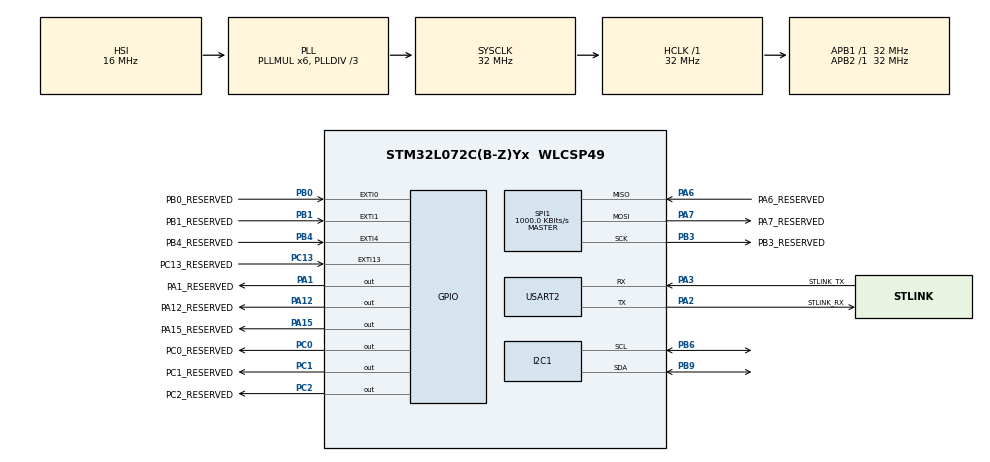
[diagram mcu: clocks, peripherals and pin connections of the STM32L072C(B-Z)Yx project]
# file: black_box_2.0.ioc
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Dma.I2C1_RX.0.Direction=DMA_PERIPH_TO_MEMORY
Dma.I2C1_RX.0.Instance=DMA1_Channel3
Dma.I2C1_RX.0.MemDataAlignment=DMA_MDATAALIGN_BYTE
Dma.I2C1_RX.0.MemInc=DMA_MINC_ENABLE
Dma.I2C1_RX.0.Mode=DMA_NORMAL
Dma.I2C1_RX.0.PeriphDataAlignment=DMA_PDATAALIGN_BYTE
Dma.I2C1_RX.0.PeriphInc=DMA_PINC_DISABLE
Dma.I2C1_RX.0.Priority=DMA_PRIORITY_LOW
Dma.Request0=I2C1_RX
FREERTOS.BinarySemaphores01=sem1,Dynamic,NULL,Depleted
FREERTOS.Tasks01=calculateTask,24,512,Calculate,Default,NULL,Dynamic,NULL,NULL
I2C1.Timing=0x00B07CB4
Mcu.Family=STM32L0
Mcu.Name=STM32L072C(B-Z)Yx
Mcu.Package=WLCSP49
NVIC.DMA1_Channel2_3_IRQn=true\:3\:0\:false\:false\:true\:true\:false\:true\:true
NVIC.EXTI0_1_IRQn=true\:3\:0\:false\:false\:true\:true\:true\:true\:true
NVIC.EXTI4_15_IRQn=true\:3\:0\:false\:false\:true\:true\:true\:true\:true
NVIC.I2C1_IRQn=true\:3\:0\:false\:false\:true\:true\:true\:true\:true
NVIC.RTC_IRQn=true\:3\:0\:false\:false\:true\:true\:true\:true\:true
NVIC.TIM7_IRQn=true\:3\:0\:false\:false\:true\:false\:false\:true\:true
NVIC.TimeBase=TIM7_IRQn
NVIC.TimeBaseIP=TIM7
NVIC.USART2_IRQn=true\:3\:0\:false\:false\:true\:true\:true\:true\:true
PA1.GPIO_Label=PA1_RESERVED
PA1.GPIO_Speed=GPIO_SPEED_FREQ_HIGH
PA1.PinState=GPIO_PIN_RESET
PA1.Signal=GPIO_Output
PA12.GPIO_Label=PA12_RESERVED
PA12.GPIO_Speed=GPIO_SPEED_FREQ_HIGH
PA12.Signal=GPIO_Output
PA15.GPIO_Label=PA15_RESERVED
PA15.GPIO_Speed=GPIO_SPEED_FREQ_HIGH
PA15.Signal=GPIO_Output
PA2.GPIO_Label=STLINK_RX
PA2.Mode=Asynchronous
PA2.Signal=USART2_TX
PA3.GPIO_Label=STLINK_TX
PA3.Mode=Asynchronous
PA3.Signal=USART2_RX
PA6.GPIO_Label=PA6_RESERVED
PA6.Mode=Full_Duplex_Master
PA6.Signal=SPI1_MISO
PA7.GPIO_Label=PA7_RESERVED
PA7.Mode=Full_Duplex_Master
PA7.Signal=SPI1_MOSI
PB0.GPIO_Label=PB0_RESERVED
PB0.Signal=GPXTI0
PB1.GPIO_Label=PB1_RESERVED
PB1.Signal=GPXTI1
PB3.GPIO_Label=PB3_RESERVED
PB3.Mode=Full_Duplex_Master
PB3.Signal=SPI1_SCK
PB4.GPIO_Label=PB4_RESERVED
PB4.Signal=GPXTI4
PB6.Mode=I2C
PB6.Signal=I2C1_SCL
PB9.Mode=I2C
PB9.Signal=I2C1_SDA
PC0.GPIO_Label=PC0_RESERVED
PC0.GPIO_Speed=GPIO_SPEED_FREQ_HIGH
PC0.Signal=GPIO_Output
PC1.GPIO_Label=PC1_RESERVED
PC1.GPIO_Speed=GPIO_SPEED_FREQ_HIGH
PC1.Signal=GPIO_Output
PC13.GPIO_Label=PC13_RESERVED
PC13.Signal=GPXTI13
PC2.GPIO_Label=PC2_RESERVED
PC2.GPIO_Speed=GPIO_SPEED_FREQ_HIGH
PC2.Signal=GPIO_Output
PH0-OSC_IN.Signal=RCC_OSC_IN
PH1-OSC_OUT.Signal=RCC_OSC_OUT
ProjectManager.HeapSize=0x200
ProjectManager.StackSize=0x400
ProjectManager.TargetToolchain=STM32CubeIDE
RCC.AHBFreq_Value=32000000
RCC.APB1Freq_Value=32000000
RCC.APB1TimFreq_Value=32000000
RCC.APB2Freq_Value=32000000
RCC.APB2TimFreq_Value=32000000
RCC.HCLKFreq_Value=32000000
RCC.HSE_VALUE=8000000
RCC.HSI16_VALUE=16000000
RCC.HSI48_VALUE=48000000
RCC.HSI_VALUE=16000000
RCC.LSE_VALUE=32768
RCC.MSI_VALUE=2097000
RCC.PLLDIV=RCC_PLLDIV_3
RCC.PLLMUL=RCC_PLLMUL_6
RCC.SYSCLKFreq_VALUE=32000000
RCC.SYSCLKSource=RCC_SYSCLKSOURCE_PLLCLK
RCC.VCOOutputFreq_Value=96000000
RTC.Alarm-Alarm\ A=RTC_ALARM_A
RTC.AlarmSubSecondMask-Alarm\ A=RTC_ALARMSUBSECONDMASK_NONE
RTC.AsynchPrediv=31
RTC.Format=RTC_FORMAT_BIN
RTC.SynchPrediv=1023
SPI1.BaudRatePrescaler=SPI_BAUDRATEPRESCALER_32
SPI1.CalculateBaudRate=1000.0 KBits/s
SPI1.Direction=SPI_DIRECTION_2LINES
SPI1.Mode=SPI_MODE_MASTER
SPI1.VirtualType=VM_MASTER
USART2.VirtualMode-Asynchronous=VM_ASYNC
VP_FREERTOS_VS_CMSIS_V2.Mode=CMSIS_V2
VP_RTC_VS_RTC_Activate.Mode=RTC_Enabled
VP_RTC_VS_RTC_Alarm_A_Intern.Mode=Alarm A
VP_RTC_VS_RTC_Calendar.Mode=RTC_Calendar
VP_SYS_VS_tim7.Mode=TIM7
board=B-L072Z-LRWAN1

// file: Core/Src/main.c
/* USER CODE BEGIN Header */
/**
  ******************************************************************************
  * @file           : main.c
  * @brief          : Main program body
  ******************************************************************************
  * @attention
  *
  * Copyright (c) 2026 STMicroelectronics.
  * All rights reserved.
  *
  * This software is licensed under terms that can be found in the LICENSE file
  * in the root directory of this software component.
  * If no LICENSE file comes with this software, it is provided AS-IS.
  *
  ******************************************************************************
  */
/* USER CODE END Header */
#include "main.h"
#include "cmsis_os.h"

/* USER CODE BEGIN Includes */
#include "stdio.h"
#include "math.h"
/* USER CODE END Includes */

/* USER CODE BEGIN PD */
#define n_buffers 3
#define n_window 50

#define MPU6050_ADDR 0x68

#define REG_PWR_MGMT_1 0x6b
#define REG_WHO_AM_I 0x75
#define REG_ACCEL_XOUT_L  0x3c
#define REG_ACCEL_XOUT_H 0x3b
#define REG_ACCEL_YOUT_H 0x3d
#define REG_ACCEL_ZOUT_H 0x3f
#define REG_GYRO_XOUT_H 0x43
#define REG_GYRO_YOUT_H 0x45
#define REG_GYRO_ZOUT_H 0x47
/* USER CODE END PD */

I2C_HandleTypeDef hi2c1;
DMA_HandleTypeDef hdma_i2c1_rx;

RTC_HandleTypeDef hrtc;

SPI_HandleTypeDef hspi1;

UART_HandleTypeDef huart2;

/* Definitions for calculateTask */
osThreadId_t calculateTaskHandle;
const osThreadAttr_t calculateTask_attributes = {
  .name = "calculateTask",
  .stack_size = 512 * 4,
  .priority = (osPriority_t) osPriorityNormal,
};
/* Definitions for sem1 */
osSemaphoreId_t sem1Handle;
const osSemaphoreAttr_t sem1_attributes = {
  .name = "sem1"
};
/* USER CODE BEGIN PV */
uint8_t buffer[n_buffers][14];
float data[6];
float window[n_window][6]={0};
volatile int dma_read_next=0;
float ff_threshhold=0.1;

//statistics variables
float sums[6]={0};
float sum_sqs[6]={0};
float vars[6]={0};

/* USER CODE END PV */

void SystemClock_Config(void);
static void MX_GPIO_Init(void);
static void MX_DMA_Init(void);
static void MX_I2C1_Init(void);
static void MX_RTC_Init(void);
static void MX_SPI1_Init(void);
static void MX_USART2_UART_Init(void);
void Calculate(void *argument);

/* USER CODE BEGIN 0 */
int _write(int file, char *ptr, int len){
	HAL_StatusTypeDef hstatus;
	hstatus = HAL_UART_Transmit(&huart2,(uint8_t *)ptr, len, HAL_MAX_DELAY);
	if(hstatus==HAL_OK)
		return len;
	else
		return -1;
}

void HAL_I2C_MemRxCpltCallback(I2C_HandleTypeDef *hi2c) {
    if (hi2c->Instance == I2C1) {
//    	printf("\nReading through DMA complete!");
    	HAL_GPIO_TogglePin(GPIOA, GPIO_PIN_10);
    	osSemaphoreRelease(sem1Handle);
    	dma_read_next = (dma_read_next==n_buffers-1)?0:dma_read_next+1;
    	HAL_I2C_Mem_Read_DMA(&hi2c1, MPU6050_ADDR << 1, REG_ACCEL_XOUT_H,
    	                             1, buffer[dma_read_next], 14);
    }
}

/* USER CODE END 0 */

int main(void)
{

  /* MCU Configuration--------------------------------------------------------*/

  /* Reset of all peripherals, Initializes the Flash interface and the Systick. */
  HAL_Init();

  /* Configure the system clock */
  SystemClock_Config();

  /* Initialize all configured peripherals */
  MX_GPIO_Init();
  MX_DMA_Init();
  MX_I2C1_Init();
  MX_RTC_Init();
  MX_SPI1_Init();
  MX_USART2_UART_Init();

  /* Init scheduler */
  osKernelInitialize();

  /* Create the semaphores(s) */
  /* creation of sem1 */
  sem1Handle = osSemaphoreNew(1, 0, &sem1_attributes);

  /* Create the thread(s) */
  /* creation of calculateTask */
  calculateTaskHandle = osThreadNew(Calculate, NULL, &calculateTask_attributes);

  /* Start scheduler */
  osKernelStart();

  /* We should never get here as control is now taken by the scheduler */

  /* Infinite loop */
  while (1)
  {

  }
}

void SystemClock_Config(void)
{
  RCC_OscInitTypeDef RCC_OscInitStruct = {0};
  RCC_ClkInitTypeDef RCC_ClkInitStruct = {0};
  RCC_PeriphCLKInitTypeDef PeriphClkInit = {0};

  /** Configure the main internal regulator output voltage
  */
  __HAL_PWR_VOLTAGESCALING_CONFIG(PWR_REGULATOR_VOLTAGE_SCALE1);

  /** Initializes the RCC Oscillators according to the specified parameters
  * in the RCC_OscInitTypeDef structure.
  */
  RCC_OscInitStruct.OscillatorType = RCC_OSCILLATORTYPE_HSI|RCC_OSCILLATORTYPE_LSI;
  RCC_OscInitStruct.HSIState = RCC_HSI_ON;
  RCC_OscInitStruct.HSICalibrationValue = RCC_HSICALIBRATION_DEFAULT;
  RCC_OscInitStruct.LSIState = RCC_LSI_ON;
  RCC_OscInitStruct.PLL.PLLState = RCC_PLL_ON;
  RCC_OscInitStruct.PLL.PLLSource = RCC_PLLSOURCE_HSI;
  RCC_OscInitStruct.PLL.PLLMUL = RCC_PLLMUL_6;
  RCC_OscInitStruct.PLL.PLLDIV = RCC_PLLDIV_3;
  if (HAL_RCC_OscConfig(&RCC_OscInitStruct) != HAL_OK)
  {
    Error_Handler();
  }

  /** Initializes the CPU, AHB and APB buses clocks
  */
  RCC_ClkInitStruct.ClockType = RCC_CLOCKTYPE_HCLK|RCC_CLOCKTYPE_SYSCLK
                              |RCC_CLOCKTYPE_PCLK1|RCC_CLOCKTYPE_PCLK2;
  RCC_ClkInitStruct.SYSCLKSource = RCC_SYSCLKSOURCE_PLLCLK;
  RCC_ClkInitStruct.AHBCLKDivider = RCC_SYSCLK_DIV1;
  RCC_ClkInitStruct.APB1CLKDivider = RCC_HCLK_DIV1;
  RCC_ClkInitStruct.APB2CLKDivider = RCC_HCLK_DIV1;

  if (HAL_RCC_ClockConfig(&RCC_ClkInitStruct, FLASH_LATENCY_1) != HAL_OK)
  {
    Error_Handler();
  }
  PeriphClkInit.PeriphClockSelection = RCC_PERIPHCLK_USART2|RCC_PERIPHCLK_I2C1
                              |RCC_PERIPHCLK_RTC;
  PeriphClkInit.Usart2ClockSelection = RCC_USART2CLKSOURCE_PCLK1;
  PeriphClkInit.I2c1ClockSelection = RCC_I2C1CLKSOURCE_PCLK1;
  PeriphClkInit.RTCClockSelection = RCC_RTCCLKSOURCE_LSI;
  if (HAL_RCCEx_PeriphCLKConfig(&PeriphClkInit) != HAL_OK)
  {
    Error_Handler();
  }
}

static void MX_I2C1_Init(void)
{

  hi2c1.Instance = I2C1;
  hi2c1.Init.Timing = 0x00B07CB4;
  hi2c1.Init.OwnAddress1 = 0;
  hi2c1.Init.AddressingMode = I2C_ADDRESSINGMODE_7BIT;
  hi2c1.Init.DualAddressMode = I2C_DUALADDRESS_DISABLE;
  hi2c1.Init.OwnAddress2 = 0;
  hi2c1.Init.OwnAddress2Masks = I2C_OA2_NOMASK;
  hi2c1.Init.GeneralCallMode = I2C_GENERALCALL_DISABLE;
  hi2c1.Init.NoStretchMode = I2C_NOSTRETCH_DISABLE;
  if (HAL_I2C_Init(&hi2c1) != HAL_OK)
  {
    Error_Handler();
  }

  /** Configure Analogue filter
  */
  if (HAL_I2CEx_ConfigAnalogFilter(&hi2c1, I2C_ANALOGFILTER_ENABLE) != HAL_OK)
  {
    Error_Handler();
  }

  /** Configure Digital filter
  */
  if (HAL_I2CEx_ConfigDigitalFilter(&hi2c1, 0) != HAL_OK)
  {
    Error_Handler();
  }

}

static void MX_RTC_Init(void)
{

  RTC_TimeTypeDef sTime = {0};
  RTC_DateTypeDef sDate = {0};
  RTC_AlarmTypeDef sAlarm = {0};

  /** Initialize RTC Only
  */
  hrtc.Instance = RTC;
  hrtc.Init.HourFormat = RTC_HOURFORMAT_24;
  hrtc.Init.AsynchPrediv = 31;
  hrtc.Init.SynchPrediv = 1023;
  hrtc.Init.OutPut = RTC_OUTPUT_DISABLE;
  hrtc.Init.OutPutRemap = RTC_OUTPUT_REMAP_NONE;
  hrtc.Init.OutPutPolarity = RTC_OUTPUT_POLARITY_HIGH;
  hrtc.Init.OutPutType = RTC_OUTPUT_TYPE_OPENDRAIN;
  if (HAL_RTC_Init(&hrtc) != HAL_OK)
  {
    Error_Handler();
  }

  /** Initialize RTC and set the Time and Date
  */
  sTime.Hours = 0;
  sTime.Minutes = 0;
  sTime.Seconds = 0;
  sTime.DayLightSaving = RTC_DAYLIGHTSAVING_NONE;
  sTime.StoreOperation = RTC_STOREOPERATION_RESET;
  if (HAL_RTC_SetTime(&hrtc, &sTime, RTC_FORMAT_BIN) != HAL_OK)
  {
    Error_Handler();
  }
  sDate.WeekDay = RTC_WEEKDAY_MONDAY;
  sDate.Month = RTC_MONTH_JANUARY;
  sDate.Date = 1;
  sDate.Year = 0;

  if (HAL_RTC_SetDate(&hrtc, &sDate, RTC_FORMAT_BIN) != HAL_OK)
  {
    Error_Handler();
  }

  /** Enable the Alarm A
  */
  sAlarm.AlarmTime.Hours = 0;
  sAlarm.AlarmTime.Minutes = 0;
  sAlarm.AlarmTime.Seconds = 0;
  sAlarm.AlarmTime.SubSeconds = 0;
  sAlarm.AlarmTime.DayLightSaving = RTC_DAYLIGHTSAVING_NONE;
  sAlarm.AlarmTime.StoreOperation = RTC_STOREOPERATION_RESET;
  sAlarm.AlarmMask = RTC_ALARMMASK_NONE;
  sAlarm.AlarmSubSecondMask = RTC_ALARMSUBSECONDMASK_NONE;
  sAlarm.AlarmDateWeekDaySel = RTC_ALARMDATEWEEKDAYSEL_DATE;
  sAlarm.AlarmDateWeekDay = 1;
  sAlarm.Alarm = RTC_ALARM_A;
  if (HAL_RTC_SetAlarm_IT(&hrtc, &sAlarm, RTC_FORMAT_BIN) != HAL_OK)
  {
    Error_Handler();
  }

}

static void MX_SPI1_Init(void)
{

  /* SPI1 parameter configuration*/
  hspi1.Instance = SPI1;
  hspi1.Init.Mode = SPI_MODE_MASTER;
  hspi1.Init.Direction = SPI_DIRECTION_2LINES;
  hspi1.Init.DataSize = SPI_DATASIZE_8BIT;
  hspi1.Init.CLKPolarity = SPI_POLARITY_LOW;
  hspi1.Init.CLKPhase = SPI_PHASE_1EDGE;
  hspi1.Init.NSS = SPI_NSS_SOFT;
  hspi1.Init.BaudRatePrescaler = SPI_BAUDRATEPRESCALER_32;
  hspi1.Init.FirstBit = SPI_FIRSTBIT_MSB;
  hspi1.Init.TIMode = SPI_TIMODE_DISABLE;
  hspi1.Init.CRCCalculation = SPI_CRCCALCULATION_DISABLE;
  hspi1.Init.CRCPolynomial = 7;
  if (HAL_SPI_Init(&hspi1) != HAL_OK)
  {
    Error_Handler();
  }

}

static void MX_USART2_UART_Init(void)
{

  huart2.Instance = USART2;
  huart2.Init.BaudRate = 115200;
  huart2.Init.WordLength = UART_WORDLENGTH_8B;
  huart2.Init.StopBits = UART_STOPBITS_1;
  huart2.Init.Parity = UART_PARITY_NONE;
  huart2.Init.Mode = UART_MODE_TX_RX;
  huart2.Init.HwFlowCtl = UART_HWCONTROL_NONE;
  huart2.Init.OverSampling = UART_OVERSAMPLING_16;
  huart2.Init.OneBitSampling = UART_ONE_BIT_SAMPLE_DISABLE;
  huart2.AdvancedInit.AdvFeatureInit = UART_ADVFEATURE_NO_INIT;
  if (HAL_UART_Init(&huart2) != HAL_OK)
  {
    Error_Handler();
  }

}

static void MX_DMA_Init(void)
{

  /* DMA controller clock enable */
  __HAL_RCC_DMA1_CLK_ENABLE();

  /* DMA interrupt init */
  /* DMA1_Channel2_3_IRQn interrupt configuration */
  HAL_NVIC_SetPriority(DMA1_Channel2_3_IRQn, 3, 0);
  HAL_NVIC_EnableIRQ(DMA1_Channel2_3_IRQn);

}

static void MX_GPIO_Init(void)
{
  GPIO_InitTypeDef GPIO_InitStruct = {0};

  /* GPIO Ports Clock Enable */
  __HAL_RCC_GPIOA_CLK_ENABLE();
  __HAL_RCC_GPIOB_CLK_ENABLE();
  __HAL_RCC_GPIOC_CLK_ENABLE();
  __HAL_RCC_GPIOH_CLK_ENABLE();

  /*Configure GPIO pin Output Level */
  HAL_GPIO_WritePin(GPIOA, PA15_RESERVED_Pin|PA12_RESERVED_Pin|PA1_RESERVED_Pin, GPIO_PIN_RESET);

  /*Configure GPIO pin Output Level */
  HAL_GPIO_WritePin(GPIOC, PC1_RESERVED_Pin|PC0_RESERVED_Pin|PC2_RESERVED_Pin, GPIO_PIN_RESET);

  /*Configure GPIO pins : PA15_RESERVED_Pin PA12_RESERVED_Pin PA1_RESERVED_Pin */
  GPIO_InitStruct.Pin = PA15_RESERVED_Pin|PA12_RESERVED_Pin|PA1_RESERVED_Pin;
  GPIO_InitStruct.Mode = GPIO_MODE_OUTPUT_PP;
  GPIO_InitStruct.Pull = GPIO_NOPULL;
  GPIO_InitStruct.Speed = GPIO_SPEED_FREQ_HIGH;
  HAL_GPIO_Init(GPIOA, &GPIO_InitStruct);

  /*Configure GPIO pins : PB4_RESERVED_Pin PB1_RESERVED_Pin PB0_RESERVED_Pin */
  GPIO_InitStruct.Pin = PB4_RESERVED_Pin|PB1_RESERVED_Pin|PB0_RESERVED_Pin;
  GPIO_InitStruct.Mode = GPIO_MODE_IT_RISING;
  GPIO_InitStruct.Pull = GPIO_NOPULL;
  HAL_GPIO_Init(GPIOB, &GPIO_InitStruct);

  /*Configure GPIO pin : PC13_RESERVED_Pin */
  GPIO_InitStruct.Pin = PC13_RESERVED_Pin;
  GPIO_InitStruct.Mode = GPIO_MODE_IT_RISING;
  GPIO_InitStruct.Pull = GPIO_NOPULL;
  HAL_GPIO_Init(PC13_RESERVED_GPIO_Port, &GPIO_InitStruct);

  /*Configure GPIO pins : PC1_RESERVED_Pin PC0_RESERVED_Pin PC2_RESERVED_Pin */
  GPIO_InitStruct.Pin = PC1_RESERVED_Pin|PC0_RESERVED_Pin|PC2_RESERVED_Pin;
  GPIO_InitStruct.Mode = GPIO_MODE_OUTPUT_PP;
  GPIO_InitStruct.Pull = GPIO_NOPULL;
  GPIO_InitStruct.Speed = GPIO_SPEED_FREQ_HIGH;
  HAL_GPIO_Init(GPIOC, &GPIO_InitStruct);

  /* EXTI interrupt init*/
  HAL_NVIC_SetPriority(EXTI0_1_IRQn, 3, 0);
  HAL_NVIC_EnableIRQ(EXTI0_1_IRQn);

  HAL_NVIC_SetPriority(EXTI4_15_IRQn, 3, 0);
  HAL_NVIC_EnableIRQ(EXTI4_15_IRQn);

}

void Calculate(void *argument)
{
  /* USER CODE BEGIN 5 */
	uint8_t ser_data = 0x0;
	printf("\nWaking sensor!");
	if(HAL_I2C_Mem_Write(&hi2c1,MPU6050_ADDR<<1,REG_PWR_MGMT_1,1,&ser_data,1,2000)==HAL_OK)
		printf("\nSensor woke up!");
	else
		printf("\nSensor wake up failed!");
printf("\nStarted Calculate task...");
printf("\nStarting DMA...");
	if(HAL_I2C_Mem_Read_DMA(&hi2c1, MPU6050_ADDR<<1 , REG_ACCEL_XOUT_H, 1, buffer[dma_read_next], 14)!=HAL_OK)
	    	printf("\nDMA initiation failed!");
//	int offset=0;
	volatile int calc_read_next=0;
	int pos=0;
	printf("\nDMA initialized!");
  /* Infinite loop */
  for(;;)
  {
//	  HAL_GPIO_TogglePin(GPIOA, GPIO_PIN_10);
//	  printf("\nWaiting for semaphore...");
	  if(osSemaphoreAcquire(sem1Handle,osWaitForever)==osOK){
//		  //Start calculation:
		  data[0]=(((int16_t)(buffer[calc_read_next][0]<<8 | buffer[calc_read_next][1]))/16384.0);
		  data[1]=(((int16_t)(buffer[calc_read_next][2]<<8 | buffer[calc_read_next][3]))/16384.0);
		  data[2]=(((int16_t)(buffer[calc_read_next][4]<<8 | buffer[calc_read_next][5]))/16384.0);

		  data[3]=(((int16_t)(buffer[calc_read_next][8]<<8 | buffer[calc_read_next][9]))/16384.0);
		  data[4]=(((int16_t)(buffer[calc_read_next][10]<<8 | buffer[calc_read_next][11]))/16384.0);
		  data[5]=(((int16_t)(buffer[calc_read_next][12]<<8 | buffer[calc_read_next][13]))/16384.0);

		  for(int i=0;i<6;i++){
			  sums[i] = sums[i]+data[i]-window[pos][i];
			  sum_sqs[i] = sum_sqs[i] + data[i]*data[i] - window[pos][i]*window[pos][i];
			  vars[i] = (sum_sqs[i] - (sums[i]*sums[i]/n_window))/n_window;

			  window[pos][i] = data[i];
		  }

		  pos=(pos==n_window-1)?0:pos+1;
		printf("\n%.2f %.2f %.2f %.2f %.2f %.2f ; Varience AccZ = %.2f",data[0],data[1],data[2], data[3],data[4],data[5],vars[2]);
//		  printf("\nVarience AccX = %f",vars[0]);

//		  if(calc<n_window-1){
//			  window[calc][0] = data[0];
//			  window[calc][1] = data[1];
//			  window[calc][2] = data[2];
//
//			  window[calc][3] = gyro[0];
//			  window[calc][4] = gyro[1];
//			  window[calc][5] = gyro[2];
//
//			  calc++;
//
//		  }else if(calc==n_window-1){
//			  window[calc][0] = data[0];
//			  			  window[calc][1] = data[1];
//			  			  window[calc][2] = data[2];
//
//			  			  window[calc][3] = gyro[0];
//			  			  window[calc][4] = gyro[1];
//			  			  window[calc][5] = gyro[2];
//
//						  calc++;
//
//			for(int i=0;i<n_window;i++){
//				for(int j=0;j<6;j++){
//					sums[j]+=window[i][j];
//					sum_sqs[j]+=(window[i][j]*window[i][j]);
//
//				}
//			}
//		  }else{
//				  sums[0] = sums[0]+data[0]-window[pos][0];
//				  sums[1] = sums[1]+data[1]-window[pos][1];
//				  sums[2] = sums[2]+data[2]-window[pos][2];
//
//				  sums[0] = sums[3]+gyro[0]-window[pos][3];
//				  sums[1] = sums[4]+gyro[1]-window[pos][4];
//				  sums[2] = sums[5]+gyro[2]-window[pos][5];
//
//				  sum_sqs[0] = sum_sqs[0]+(data[0]*data[0])-(window[pos][0]*window[pos][0]);
//				  sum_sqs[1] = sum_sqs[1]+(data[1]*data[1])-(window[pos][1]*window[pos][1]);
//				  sum_sqs[2] = sum_sqs[2]+(data[2]*data[2])-(window[pos][2]*window[pos][2]);
//
//				  sum_sqs[0] = sum_sqs[3]+(gyro[0]*gyro[0])-(window[pos][3]*window[pos][3]);
//				  sum_sqs[1] = sum_sqs[4]+(gyro[1]*gyro[1])-(window[pos][4]*window[pos][4]);
//				  sum_sqs[2] = sum_sqs[5]+(gyro[2]*gyro[2])-(window[pos][5]*window[pos][5]);
//
//
//				  window[pos][0] = data[0];
//				  window[pos][1] = data[1];
//				  window[pos][2] = data[2];
//
//				  window[pos][3] = gyro[0];
//				  window[pos][4] = gyro[1];
//				  window[pos][5] = gyro[2];
//
//
//				  pos=(pos==n_window-1)?0:pos+1;
//
//
//		  }

//		  net_acc=sqrt(data[0]*data[0] + data[1]*data[1] + data[2]*data[2]);
//		  if(ff_detected==0){
//		  printf("\nNet Accel: %f",net_acc);
//		  }
//		  if(net_acc<ff_threshhold){
//			  printf("\n*****************Free fall detected!! ***************");
//			  ff_detected=1;
//
//		  }

//		  gyro[0]=(((int16_t)(buffer[calc_read_next]<<8 | buffer[9+offset]))/16384.0);
//		  gyro[1]=(((int16_t)(buffer[calc_read_next]<<8 | buffer[11+offset]))/16384.0);
//		  gyro[2]=(((int16_t)(buffer[calc_read_next]<<8 | buffer[13+offset]))/16384.0);
////
//		  		printf("\n%.2f %.2f %.2f",data[0],data[1],data[2]);
//	  		printf("\n%.2f",data[0]);
//		  printf("\n%d %d",buffer[calc_read_next][0],buffer[calc_read_next][1]);

////
////
////		  if(offset==0)offset=14;
////		  else offset=0;

//	  		if(calc_read_next==0)calc_read_next=1;
//	  		else calc_read_next=0;
		calc_read_next = (calc_read_next==n_buffers-1)?0:calc_read_next+1;
//
//	  printf("\nExcecuted!");
	  }
//	  osDelay(1);
  }
  /* USER CODE END 5 */
}

void HAL_TIM_PeriodElapsedCallback(TIM_HandleTypeDef *htim)
{
  if (htim->Instance == TIM7)
  {
    HAL_IncTick();
  }
}

void Error_Handler(void)
{
  __disable_irq();
  while (1)
  {
  }
}
